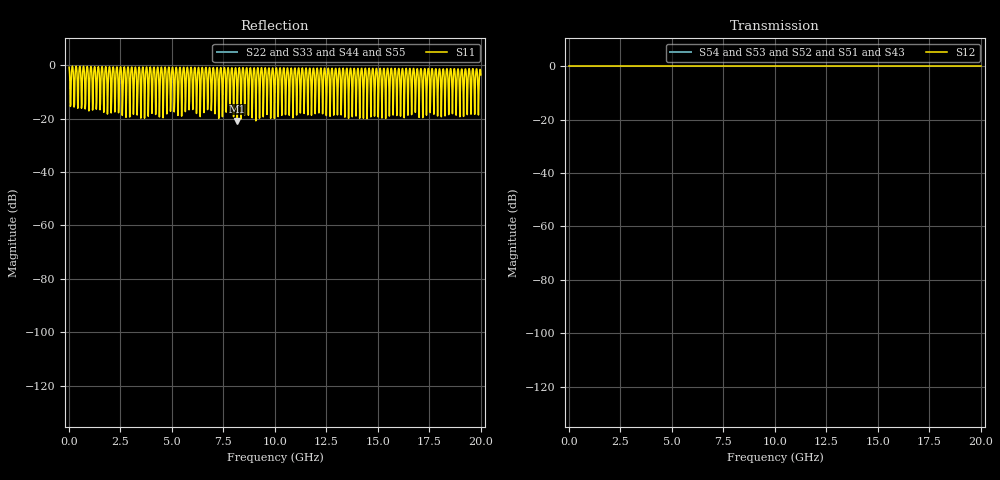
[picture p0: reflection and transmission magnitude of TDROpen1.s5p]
! File created by SignalIntegrity v1.3.3: Signal and Power Integrity Tools
! https://github.com/TeledyneLeCroy/SignalIntegrity
# MHz S MA R 50.0
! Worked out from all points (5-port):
!   1000 points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, 20 MHz to 20 GHz, reference 50 ohm
!   strongest paths, dB at 20 MHz, 5.02 GHz, 10.02 GHz, 15.02 GHz, 20 GHz:
!     S12: 0.0, 0.0, 0.0, 0.0, 0.0
!     S54: -, -, -, -, -
!     S53: -, -, -, -, -
!     S52: -, -, -, -, -
!     S51: -, -, -, -, -
!     S43: -, -, -, -, -
!   lowest |S11| = -20.9 dB at 8.18 GHz (marker M1), VSWR 1.20, Z = 58.1 - j5.52 ohm
!   |S11| at or under -10 dB: 68.35 MHz to 110.8 MHz (42.5 MHz wide, 47.4 % of centre); 247.9 MHz to 290.8 MHz (42.88 MHz wide, 15.9 % of centre); 427.3 MHz to 470.3 MHz (43 MHz wide, 9.58 % of centre) (the widest 3 of 111)
